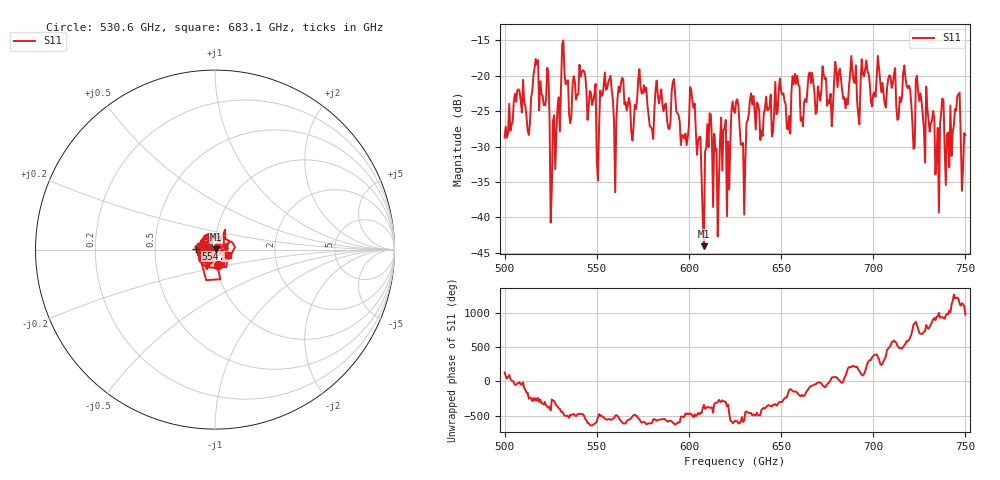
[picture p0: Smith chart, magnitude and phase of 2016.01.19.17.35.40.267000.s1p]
!Created with skrf (http://scikit-rf.org).
# GHz S RI R 50.0
!freq ReS11 ImS11
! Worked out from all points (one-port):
!   401 points, 500 GHz to 750 GHz, reference 50 ohm
!   lowest |S11| = -44.1 dB at 608.1 GHz (marker M1), VSWR 1.01, Z = 50.6 + j0.221 ohm
!   |S11| at or under -10 dB: start of sweep to end of sweep
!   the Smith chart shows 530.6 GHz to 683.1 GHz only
!   S11 on the Smith chart (normalised r, x): 530.6 GHz: 1.01, -0.17; 554.4 GHz: 0.81, +0.01; 683.1 GHz: 1.15, -0.07
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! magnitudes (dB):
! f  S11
! 500 GHz  -28.8
! 506.9 GHz  -22.1
! 513.1 GHz  -28.4
! 516.9 GHz  -17.7
! 523.1 GHz  -18.9
! 526.2 GHz  -26.4
! 530.6 GHz  -21.3
! 531.2 GHz  -15.5
! 551.2 GHz  -27.3
! 554.4 GHz  -19.6
! 560 GHz  -36.5
! 562.5 GHz  -22.3
! 593.8 GHz  -25.3
! 598.1 GHz  -28.2
! 601.9 GHz  -23.5
! 608.1 GHz  -44.1
! 610.6 GHz  -30.1
! 614.4 GHz  -30.6
! 625 GHz  -25.2
! 629.4 GHz  -29.5
! 633.8 GHz  -22.5
! 656.2 GHz  -20.1
! 683.1 GHz  -22.1
! 687.5 GHz  -19.7
! 718.8 GHz  -21.8
! 735 GHz  -27.4
! 745.6 GHz  -22.9
! 750 GHz  -28.4
